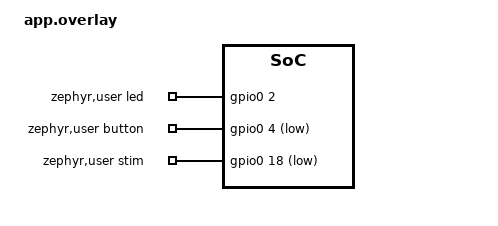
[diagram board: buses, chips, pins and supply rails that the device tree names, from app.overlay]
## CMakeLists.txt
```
cmake_minimum_required(VERSION 3.20.0)

find_package(Zephyr REQUIRED HINTS $ENV{ZEPHYR_BASE})
project(desafio_workqueue)

# Desafio final (Exp. 8): mesma instrumentacao do projeto-base, um unico mecanismo
target_sources(app PRIVATE src/main.c src/bench.c src/mode_workqueue.c)
```

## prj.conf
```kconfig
# --- Basico ---
CONFIG_GPIO=y
CONFIG_PRINTK=y
CONFIG_MAIN_STACK_SIZE=4096
CONFIG_SYS_CLOCK_TICKS_PER_SEC=1000
CONFIG_ESP32_USE_UNSUPPORTED_REVISION=y

# --- Instrumentacao: CPU e pilhas ---
CONFIG_THREAD_NAME=y
CONFIG_THREAD_STACK_INFO=y
CONFIG_INIT_STACKS=y
CONFIG_THREAD_RUNTIME_STATS=y
CONFIG_SCHED_THREAD_USAGE=y
CONFIG_SCHED_THREAD_USAGE_ALL=y
CONFIG_THREAD_ANALYZER=y
CONFIG_THREAD_ANALYZER_USE_PRINTK=y

# --- Mesma prioridade para a worker e a system workqueue (comparacao justa) ---
CONFIG_SYSTEM_WORKQUEUE_PRIORITY=1
```

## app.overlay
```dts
/* Pinos do hands-on (ESP32 DevKit) */

/ {
    zephyr,user {
        led-gpios    = <&gpio0 2  GPIO_ACTIVE_HIGH>;
        button-gpios = <&gpio0 4  (GPIO_ACTIVE_LOW | GPIO_PULL_UP)>;
        stim-gpios   = <&gpio0 18 GPIO_ACTIVE_LOW>;
    };
};
```

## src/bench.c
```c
#include "bench.h"

atomic_t ev_generated;
atomic_t ev_detected;
atomic_t ev_processed;
volatile bool measuring;
volatile uint32_t t_stim;
volatile uint32_t hb_max_dt;
struct lat_stat lat_detect, lat_handoff, lat_process, lat_proc_dur;

void lat_reset(struct lat_stat *s) {
	s->n = 0U;
	s->min = UINT32_MAX;
	s->max = 0U;
	s->sum = 0U;
}

void lat_add(struct lat_stat *s, uint32_t cycles) {
	s->n++;
	s->sum += cycles;
	if (cycles < s->min) {
		s->min = cycles;
	}

	if (cycles > s->max) {
		s->max = cycles;
	}
}

void bench_reset_all(void) {
	lat_reset(&lat_detect);
	lat_reset(&lat_handoff);
	lat_reset(&lat_process);
	lat_reset(&lat_proc_dur);

	atomic_set(&ev_generated, 0);
	atomic_set(&ev_detected, 0);

	atomic_set(&ev_processed, 0);

	hb_max_dt = 0U;
}

#define US_I(ns) ((uint32_t)((ns) / 1000ULL))

#define US_F(ns) ((uint32_t)(((ns) % 1000ULL) / 10ULL))

void lat_print(const char *name, const struct lat_stat *s) {
	if (s->n == 0U) {
		printk("%-13s: sem amostras\n", name);
		return;
	}

	uint64_t mn = k_cyc_to_ns_floor64(s->min);
	uint64_t av = k_cyc_to_ns_floor64(s->sum / s->n);
	uint64_t mx = k_cyc_to_ns_floor64(s->max);

	printk("%-13s: n=%-4u min=%u.%02u  med=%u.%02u  max=%u.%02u  (us)\n", name,
				 s->n, US_I(mn), US_F(mn), US_I(av), US_F(av), US_I(mx), US_F(mx));

	printk("CSV,LAT,%s,%s,%u,%u,%u,%u\n", mode_name(), name, s->n, (uint32_t)mn,
				 (uint32_t)av, (uint32_t)mx);
}

/* Desafio final: detecta -> conta -> LED -> imprime -> processa 100 ms -> espera.
 * Roda sempre em contexto de thread (poll, worker ou sysworkq), nunca na ISR. */
void app_process_event(void) {
	uint32_t t0 = k_cycle_get_32();
	long count = (long)atomic_inc(&ev_processed) + 1; /* incrementa o contador */

	gpio_pin_toggle_dt(&led);                         /* alterna o LED */
	printk("contador = %ld\n", count);                /* imprime fora da ISR */

#ifdef CONFIG_APP_PROC_BUSY
	k_busy_wait(CONFIG_APP_PROCESSING_US);            /* 100 ms ocupando a CPU */
#else
	k_msleep(CONFIG_APP_PROCESSING_US / 1000);        /* 100 ms com a thread dormindo */
#endif

	if (measuring) {
		lat_add(&lat_proc_dur, k_cycle_get_32() - t0);
	}
}

#ifdef CONFIG_APP_HEARTBEAT

/* Thread periodica de alta prioridade: mede o quanto o escalonamento
 * e atrasado (ex.: por uma ISR longa). Baseline ~1-2 ms (1 tick). */
K_THREAD_STACK_DEFINE(hb_stack, 1024);

static struct k_thread hb_data;

static void hb_thread(void *p1, void *p2, void *p3) {
	uint32_t last = k_cycle_get_32();

	while (1) {
		k_msleep(1);
		uint32_t now = k_cycle_get_32();
		uint32_t dt = now - last;
		last = now;

		if (measuring && dt > hb_max_dt) {
			hb_max_dt = dt;
		}
	}
}

void heartbeat_start(void) {
	k_tid_t tid =
			k_thread_create(&hb_data, hb_stack, K_THREAD_STACK_SIZEOF(hb_stack),
											hb_thread, NULL, NULL, NULL, 0, 0, K_NO_WAIT);

	k_thread_name_set(tid, "heartbeat");
}

#else

void heartbeat_start(void) {}

#endif
```
